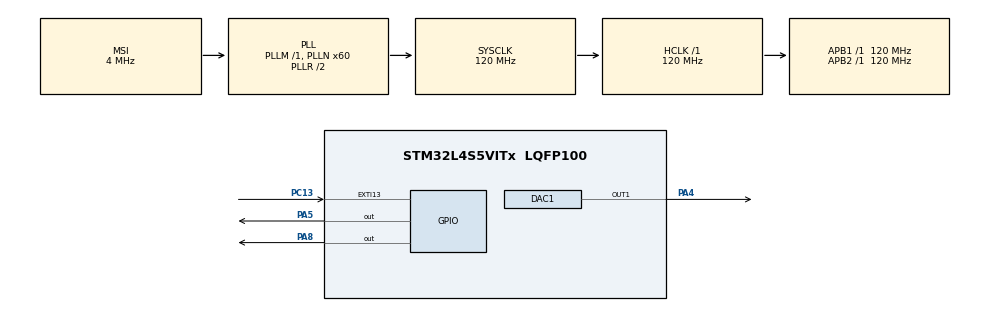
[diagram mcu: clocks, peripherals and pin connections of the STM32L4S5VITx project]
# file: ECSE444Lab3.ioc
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DAC1.DAC_Trigger-DAC_OUT1=DAC_TRIGGER_T2_TRGO
Dma.DAC1_CH1.0.Direction=DMA_MEMORY_TO_PERIPH
Dma.DAC1_CH1.0.EventEnable=DISABLE
Dma.DAC1_CH1.0.Instance=DMA1_Channel3
Dma.DAC1_CH1.0.MemDataAlignment=DMA_MDATAALIGN_WORD
Dma.DAC1_CH1.0.MemInc=DMA_MINC_ENABLE
Dma.DAC1_CH1.0.Mode=DMA_CIRCULAR
Dma.DAC1_CH1.0.PeriphDataAlignment=DMA_PDATAALIGN_WORD
Dma.DAC1_CH1.0.PeriphInc=DMA_PINC_DISABLE
Dma.DAC1_CH1.0.Polarity=HAL_DMAMUX_REQUEST_GEN_RISING
Dma.DAC1_CH1.0.Priority=DMA_PRIORITY_HIGH
Dma.DAC1_CH1.0.RequestNumber=1
Dma.DAC1_CH1.0.SignalID=NONE
Dma.DAC1_CH1.0.SyncEnable=DISABLE
Dma.DAC1_CH1.0.SyncPolarity=HAL_DMAMUX_SYNC_NO_EVENT
Dma.DAC1_CH1.0.SyncRequestNumber=1
Dma.DAC1_CH1.0.SyncSignalID=NONE
Dma.Request0=DAC1_CH1
Mcu.Family=STM32L4
Mcu.Name=STM32L4S5VITx
Mcu.Package=LQFP100
NVIC.DMA1_Channel3_IRQn=true\:0\:0\:false\:false\:true\:false\:true\:true
NVIC.EXTI15_10_IRQn=true\:0\:0\:false\:false\:true\:true\:true\:true
NVIC.PriorityGroup=NVIC_PRIORITYGROUP_4
NVIC.TIM2_IRQn=true\:0\:0\:false\:false\:true\:true\:true\:true
NVIC.TIM6_DAC_IRQn=true\:0\:0\:false\:false\:true\:true\:true\:true
PA4.Signal=COMP_DAC11_group
PA5.Signal=GPIO_Output
PA8.Signal=GPIO_Output
PC13.Signal=GPXTI13
ProjectManager.HeapSize=0x200
ProjectManager.StackSize=0x400
ProjectManager.TargetToolchain=STM32CubeIDE
RCC.ADCFreq_Value=48000000
RCC.AHBFreq_Value=120000000
RCC.APB1Freq_Value=120000000
RCC.APB1TimFreq_Value=120000000
RCC.APB2Freq_Value=120000000
RCC.APB2TimFreq_Value=120000000
RCC.CortexFreq_Value=120000000
RCC.HCLKFreq_Value=120000000
RCC.HSE_VALUE=8000000
RCC.HSI48_VALUE=48000000
RCC.HSI_VALUE=16000000
RCC.LSE_VALUE=32768
RCC.MSI_VALUE=4000000
RCC.PLLN=60
RCC.PLLSAI1N=24
RCC.SYSCLKFreq_VALUE=120000000
RCC.SYSCLKSource=RCC_SYSCLKSOURCE_PLLCLK
RCC.USBFreq_Value=48000000
RCC.VCOOutputFreq_Value=240000000
SH.COMP_DAC11_group.0=DAC1_OUT1,DAC_OUT1
TIM2.Period=2999
TIM2.TIM_MasterOutputTrigger=TIM_TRGO_UPDATE
VP_TIM2_VS_ClockSourceINT.Mode=Internal
board=B-L4S5I-IOT01A

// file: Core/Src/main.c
/* USER CODE BEGIN Header */
/**
  ******************************************************************************
  * @file           : main.c
  * @brief          : Main program body
  ******************************************************************************
  * @attention
  *
  * Copyright (c) 2024 STMicroelectronics.
  * All rights reserved.
  *
  * This software is licensed under terms that can be found in the LICENSE file
  * in the root directory of this software component.
  * If no LICENSE file comes with this software, it is provided AS-IS.
  *
  ******************************************************************************
  */
/* USER CODE END Header */
#include "main.h"

/* USER CODE BEGIN Includes */
extern uint32_t triwave_125hz(int counter);
extern uint32_t sawwave_100hz(int counter);
extern uint32_t *getSineWave(int freq);
int counter = 0;
int DAC_operation_flag = 0;
uint32_t sinewave_200[200] = {
    127, 131, 135, 139, 143, 147, 151, 155, 159, 163, 166, 170, 174, 178, 181, 185, 188, 192, 195, 199, 202, 205, 208, 211, 214, 217, 220, 223, 225, 228, 230, 232, 235, 237, 239, 241, 242, 244, 246, 247, 248, 249, 250, 251, 252, 253, 253, 254, 254, 254, 255, 254, 254, 254, 253, 253, 252, 251, 250, 249, 248, 247, 246, 244, 242, 241, 239, 237, 235, 232, 230, 228, 225, 223, 220, 217, 214, 211, 208, 205, 202, 199, 195, 192, 188, 185, 181, 178, 174, 170, 166, 163, 159, 155, 151, 147, 143, 139, 135, 131, 127, 123, 119, 115, 111, 107, 103, 99, 95, 91, 88, 84, 80, 76, 73, 69, 66, 62, 59, 55, 52, 49, 46, 43, 40, 37, 34, 31, 29, 26, 24, 22, 19, 17, 15, 13, 12, 10, 8, 7, 6, 5, 4, 3, 2, 1, 1, 0, 0, 0, 0, 0, 0, 0, 1, 1, 2, 3, 4, 5, 6, 7, 8, 10, 12, 13, 15, 17, 19, 22, 24, 26, 29, 31, 34, 37, 40, 43, 46, 49, 52, 55, 59, 62, 66, 69, 73, 76, 80, 84, 88, 91, 95, 99, 103, 107, 111, 115, 119, 123
    };
uint32_t* sinewave_C4;
uint32_t* sinewave_E4;
uint32_t* sinewave_G4;
uint32_t* sinewave_1k;

void wave_initializer(){
	uint32_t* sinewave_C4 = getSineWave(262);
	uint32_t* sinewave_E4 = getSineWave(330);
	uint32_t* sinewave_G4 = getSineWave(392);
	uint32_t* sinewave_1k = getSineWave(1000);
}
/* USER CODE END Includes */

DAC_HandleTypeDef hdac1;
DMA_HandleTypeDef hdma_dac1_ch1;

TIM_HandleTypeDef htim2;

void SystemClock_Config(void);
static void MX_GPIO_Init(void);
static void MX_DMA_Init(void);
static void MX_DAC1_Init(void);
static void MX_TIM2_Init(void);
/* USER CODE BEGIN PFP */
DAC_HandleTypeDef hdac1;
DMA_HandleTypeDef hdma_dac1_ch1;
TIM_HandleTypeDef htim2;
/* USER CODE END PFP */

int main(void)
{
  /* USER CODE BEGIN 1 */
	wave_initializer();
  /* USER CODE END 1 */

  /* MCU Configuration--------------------------------------------------------*/

  /* Reset of all peripherals, Initializes the Flash interface and the Systick. */
  HAL_Init();

  /* Configure the system clock */
  SystemClock_Config();

  /* Initialize all configured peripherals */
  MX_GPIO_Init();
  MX_DMA_Init();
  MX_DAC1_Init();
  MX_TIM2_Init();

  /* USER CODE BEGIN 2 */
  HAL_TIM_Base_Start_IT(&htim2);
  //DMA single tone part start
  HAL_DAC_Start_DMA(&hdac1, DAC_CHANNEL_1, sinewave_200, 200, DAC_ALIGN_8B_R);
  HAL_Delay(5000);//play 200hz for 5s
  HAL_DAC_Stop_DMA(&hdac1, DAC_CHANNEL_1);
  HAL_Delay(100);
  //DMA single tone part end

  //HAL_Delay tone part start
  HAL_DAC_Start(&hdac1, DAC_CHANNEL_1);
  counter = 0;
  while(1){
	  HAL_DAC_SetValue(&hdac1, DAC_CHANNEL_1, DAC_ALIGN_8B_R, triwave_125hz(counter++));
	  //change triwave to sawwave or testsine[counter++]
	  HAL_Delay(1);
  }
  //HAL_Delay tone part end
  /* USER CODE END 2 */

  /* Infinite loop */
  while (1)
  {
	  //see user code 4 for callbacks
  }
}

void SystemClock_Config(void)
{
  RCC_OscInitTypeDef RCC_OscInitStruct = {0};
  RCC_ClkInitTypeDef RCC_ClkInitStruct = {0};

  /** Configure the main internal regulator output voltage
  */
  if (HAL_PWREx_ControlVoltageScaling(PWR_REGULATOR_VOLTAGE_SCALE1_BOOST) != HAL_OK)
  {
    Error_Handler();
  }

  /** Initializes the RCC Oscillators according to the specified parameters
  * in the RCC_OscInitTypeDef structure.
  */
  RCC_OscInitStruct.OscillatorType = RCC_OSCILLATORTYPE_MSI;
  RCC_OscInitStruct.MSIState = RCC_MSI_ON;
  RCC_OscInitStruct.MSICalibrationValue = 0;
  RCC_OscInitStruct.MSIClockRange = RCC_MSIRANGE_6;
  RCC_OscInitStruct.PLL.PLLState = RCC_PLL_ON;
  RCC_OscInitStruct.PLL.PLLSource = RCC_PLLSOURCE_MSI;
  RCC_OscInitStruct.PLL.PLLM = 1;
  RCC_OscInitStruct.PLL.PLLN = 60;
  RCC_OscInitStruct.PLL.PLLP = RCC_PLLP_DIV2;
  RCC_OscInitStruct.PLL.PLLQ = RCC_PLLQ_DIV2;
  RCC_OscInitStruct.PLL.PLLR = RCC_PLLR_DIV2;
  if (HAL_RCC_OscConfig(&RCC_OscInitStruct) != HAL_OK)
  {
    Error_Handler();
  }

  /** Initializes the CPU, AHB and APB buses clocks
  */
  RCC_ClkInitStruct.ClockType = RCC_CLOCKTYPE_HCLK|RCC_CLOCKTYPE_SYSCLK
                              |RCC_CLOCKTYPE_PCLK1|RCC_CLOCKTYPE_PCLK2;
  RCC_ClkInitStruct.SYSCLKSource = RCC_SYSCLKSOURCE_PLLCLK;
  RCC_ClkInitStruct.AHBCLKDivider = RCC_SYSCLK_DIV1;
  RCC_ClkInitStruct.APB1CLKDivider = RCC_HCLK_DIV1;
  RCC_ClkInitStruct.APB2CLKDivider = RCC_HCLK_DIV1;

  if (HAL_RCC_ClockConfig(&RCC_ClkInitStruct, FLASH_LATENCY_5) != HAL_OK)
  {
    Error_Handler();
  }
}

static void MX_DAC1_Init(void)
{

  DAC_ChannelConfTypeDef sConfig = {0};

  /** DAC Initialization
  */
  hdac1.Instance = DAC1;
  if (HAL_DAC_Init(&hdac1) != HAL_OK)
  {
    Error_Handler();
  }

  /** DAC channel OUT1 config
  */
  sConfig.DAC_SampleAndHold = DAC_SAMPLEANDHOLD_DISABLE;
  sConfig.DAC_Trigger = DAC_TRIGGER_T2_TRGO;
  sConfig.DAC_HighFrequency = DAC_HIGH_FREQUENCY_INTERFACE_MODE_ABOVE_80MHZ;
  sConfig.DAC_OutputBuffer = DAC_OUTPUTBUFFER_ENABLE;
  sConfig.DAC_ConnectOnChipPeripheral = DAC_CHIPCONNECT_DISABLE;
  sConfig.DAC_UserTrimming = DAC_TRIMMING_FACTORY;
  if (HAL_DAC_ConfigChannel(&hdac1, &sConfig, DAC_CHANNEL_1) != HAL_OK)
  {
    Error_Handler();
  }

}

static void MX_TIM2_Init(void)
{

  TIM_ClockConfigTypeDef sClockSourceConfig = {0};
  TIM_MasterConfigTypeDef sMasterConfig = {0};

  htim2.Instance = TIM2;
  htim2.Init.Prescaler = 0;
  htim2.Init.CounterMode = TIM_COUNTERMODE_UP;
  htim2.Init.Period = 2999;
  htim2.Init.ClockDivision = TIM_CLOCKDIVISION_DIV1;
  htim2.Init.AutoReloadPreload = TIM_AUTORELOAD_PRELOAD_DISABLE;
  if (HAL_TIM_Base_Init(&htim2) != HAL_OK)
  {
    Error_Handler();
  }
  sClockSourceConfig.ClockSource = TIM_CLOCKSOURCE_INTERNAL;
  if (HAL_TIM_ConfigClockSource(&htim2, &sClockSourceConfig) != HAL_OK)
  {
    Error_Handler();
  }
  sMasterConfig.MasterOutputTrigger = TIM_TRGO_UPDATE;
  sMasterConfig.MasterSlaveMode = TIM_MASTERSLAVEMODE_DISABLE;
  if (HAL_TIMEx_MasterConfigSynchronization(&htim2, &sMasterConfig) != HAL_OK)
  {
    Error_Handler();
  }

}

static void MX_DMA_Init(void)
{

  /* DMA controller clock enable */
  __HAL_RCC_DMAMUX1_CLK_ENABLE();
  __HAL_RCC_DMA1_CLK_ENABLE();

  /* DMA interrupt init */
  /* DMA1_Channel3_IRQn interrupt configuration */
  HAL_NVIC_SetPriority(DMA1_Channel3_IRQn, 0, 0);
  HAL_NVIC_EnableIRQ(DMA1_Channel3_IRQn);

}

static void MX_GPIO_Init(void)
{
  GPIO_InitTypeDef GPIO_InitStruct = {0};

  /* GPIO Ports Clock Enable */
  __HAL_RCC_GPIOC_CLK_ENABLE();
  __HAL_RCC_GPIOA_CLK_ENABLE();

  /*Configure GPIO pin Output Level */
  HAL_GPIO_WritePin(GPIOA, GPIO_PIN_5|GPIO_PIN_8, GPIO_PIN_RESET);

  /*Configure GPIO pin : PC13 */
  GPIO_InitStruct.Pin = GPIO_PIN_13;
  GPIO_InitStruct.Mode = GPIO_MODE_IT_RISING;
  GPIO_InitStruct.Pull = GPIO_NOPULL;
  HAL_GPIO_Init(GPIOC, &GPIO_InitStruct);

  /*Configure GPIO pins : PA5 PA8 */
  GPIO_InitStruct.Pin = GPIO_PIN_5|GPIO_PIN_8;
  GPIO_InitStruct.Mode = GPIO_MODE_OUTPUT_PP;
  GPIO_InitStruct.Pull = GPIO_NOPULL;
  GPIO_InitStruct.Speed = GPIO_SPEED_FREQ_LOW;
  HAL_GPIO_Init(GPIOA, &GPIO_InitStruct);

  /* EXTI interrupt init*/
  HAL_NVIC_SetPriority(EXTI15_10_IRQn, 0, 0);
  HAL_NVIC_EnableIRQ(EXTI15_10_IRQn);

}

/* USER CODE BEGIN 4 */

void HAL_TIM_PeriodElapsedCallback(TIM_HandleTypeDef* htim){
	if(htim == &htim2){
		//uncomment following for the DAC using TIM
		//HAL_DAC_SetValue(&hdac1, DAC_CHANNEL_1, DAC_ALIGN_8B_R, sinewave_1k[counter++%40]);
		//HAL_GPIO_WritePin(GPIOA, GPIO_PIN_5, GPIO_PIN_SET);
	}
}

void HAL_GPIO_EXTI_Callback(uint16_t GPIO_Pin)
{
	if(GPIO_Pin == GPIO_PIN_13){
		//stop all before restarts
		HAL_DAC_Stop_DMA(&hdac1,DAC_CHANNEL_1);
		HAL_DAC_Stop(&hdac1,DAC_CHANNEL_1);
		HAL_TIM_Base_Start(&htim2);
    	if(DAC_operation_flag == 0){
        	//HAL_TIM_Base_Start(&htim2);
        	//HAL_DAC_Stop_DMA(&hdac1,DAC_CHANNEL_1);
        	HAL_DAC_Start_DMA(&hdac1, DAC_CHANNEL_1, sinewave_C4, 80, DAC_ALIGN_8B_R);
        	DAC_operation_flag = 1;
        	HAL_GPIO_WritePin(GPIOA, GPIO_PIN_5, GPIO_PIN_SET);
    	}else if(DAC_operation_flag == 1){
    		//HAL_DAC_Stop_DMA(&hdac1,DAC_CHANNEL_1);
    		//HAL_TIM_Base_Start(&htim2);
    		HAL_DAC_Start_DMA(&hdac1, DAC_CHANNEL_1, sinewave_E4, 40, DAC_ALIGN_8B_R);
    		DAC_operation_flag = 2;
    		HAL_GPIO_WritePin(GPIOA, GPIO_PIN_5, 1);
    	}else if(DAC_operation_flag == 2){
    		//HAL_DAC_Stop_DMA(&hdac1,DAC_CHANNEL_1);
    		//HAL_TIM_Base_Start(&htim2);
    		HAL_DAC_Start_DMA(&hdac1, DAC_CHANNEL_1, sinewave_G4, 20, DAC_ALIGN_8B_R);
    		DAC_operation_flag = 3;
    		HAL_GPIO_WritePin(GPIOA, GPIO_PIN_5, 1);
    	}else if(DAC_operation_flag == 3){
    		HAL_DAC_Stop_DMA(&hdac1,DAC_CHANNEL_1);
    		DAC_operation_flag = 0;
    		HAL_GPIO_WritePin(GPIOA, GPIO_PIN_5, 0);
    		}
	}
}
/* USER CODE END 4 */

void Error_Handler(void)
{
  __disable_irq();
  while (1)
  {
  }
}
